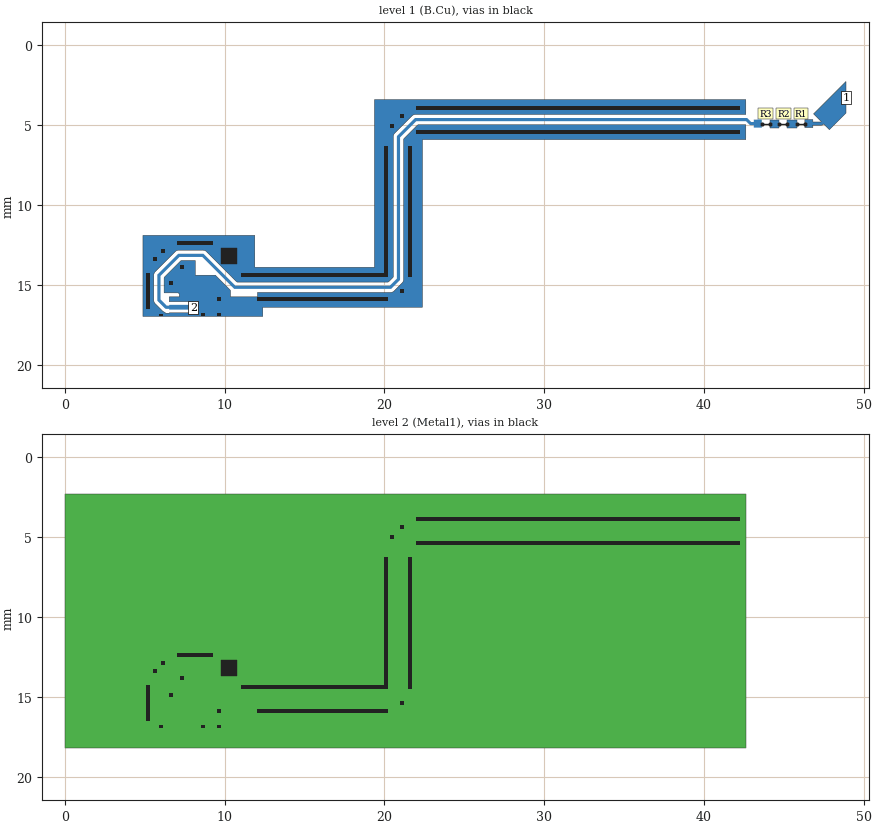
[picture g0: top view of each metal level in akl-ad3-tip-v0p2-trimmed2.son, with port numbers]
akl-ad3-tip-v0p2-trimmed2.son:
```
FTYP SONPROJ 19 ! Sonnet Project File
VER 18.01
HEADER
LIC antikernel2.1.51012 90e2ba8817c1 havequick azonenberg Level3Gold
DAT 09/25/2021 06:21:30
BUILT_BY_CREATED dxf 18.01 09/25/2021 05:46:11
BUILT_BY_SAVED sonnet 18.01
MDATE 09/25/2021 06:21:30
HDATE 09/25/2021 06:21:30
ANN Created by dxfgeo, Sonnet Software Inc.
END HEADER
DIM
ANG DEG
CAP PF
CON /OH
FREQ GHZ
IND NH
LNG MM
RES OH
END DIM
CONTROL
VARSWP
OPTIONS  -dj
SPEED 1
CACHE_ABS 2
Q_ACC N
END CONTROL
GEO
TMET "Free Space" 0 FREESPACE 376.7303136 0 0 0
BMET "Free Space" 0 FREESPACE 376.7303136 0 0 0
MET "Copper 1oz thick" 1 TMM 58000000 0.5 0.035 2
MET "Unknown_metal" 1 VOL INF 0
BOX 3 48.9 20 3912 1600 20 0
      5 1 1 0 0 0 0 "Air"
      0.035 4.3 1 0.02 0 0 0 "Soldermask"
      0.1016 3.2 1 0.002 0 0 0 "Panasonic R-F775"
      1 1 1 0 0 0 0 "Air"
TECHLAY METAL B.Cu L1D0 -1 -65534 
1 0 0 T 296 1 1 100 100 0 0 0 Y
END
END
TECHLAY VIA Via1 L2D0 -2 -65534 
VIA POLYGON
1 0 -1 N 989 1 1 100 100 0 0 0 Y
TOLEVEL 2 RING NOCOVERS
END
END
TECHLAY METAL Metal1 <UNSPECIFIED> -3 0 
2 0 -1 N 1784 1 1 100 100 0 0 0 Y
END
END
LORGN 0 20 U 
POR1 CUP Auto
GNDREF AUTO
TERMW FEED
POLY 7 1
122
2 50 0 0 0 8.025 16.4 
CUPGRP "Auto" LOCAL
ID 987
END
POR1 BOX
POLY 355 1
0
1 50 0 0 0 48.9 3.259 
SMD 1 "R1"
ID 312
GNDREF AUTO
SBOX 45.95 46.2 4.775 5.025
PBSHW N
LPOS 46.075 4.775
TYPE SPARAM 1
SMDP 1 46.325 4.9 R 3 1 
EXSMDP
GNDREF AUTO
TERMW FEED
END EXSMDP
SMDP 1 45.825 4.9 L 4 2 
EXSMDP
GNDREF AUTO
TERMW FEED
END EXSMDP
END
SMD 1 "R2"
ID 317
GNDREF AUTO
SBOX 44.85 45.1 4.775 5.025
PBSHW N
LPOS 44.975 4.775
TYPE SPARAM 1
SMDP 1 45.225 4.9 R 5 1 
EXSMDP
GNDREF AUTO
TERMW FEED
END EXSMDP
SMDP 1 44.725 4.9 L 6 2 
EXSMDP
GNDREF AUTO
TERMW FEED
END EXSMDP
END
SMD 1 "R3"
ID 322
GNDREF AUTO
SBOX 43.75 44 4.775 5.025
PBSHW N
LPOS 43.875 4.775
TYPE SPARAM 2
SMDP 1 44.125 4.9 R 7 1 
EXSMDP
GNDREF AUTO
TERMW FEED
END EXSMDP
SMDP 1 43.625 4.9 L 8 2 
EXSMDP
GNDREF AUTO
TERMW FEED
END EXSMDP
END
NUM 26
1 5 0 T 5 1 1 100 100 0 0 0 Y
TLAYNAM B.Cu INH
44.125 5.15
44.125 4.65
44.725 4.65
44.725 5.15
44.125 5.15
END
1 5 0 T 6 1 1 100 100 0 0 0 Y
TLAYNAM B.Cu INH
45.225 5.15
45.225 4.65
45.825 4.65
45.825 5.15
45.225 5.15
END
1 125 0 T 7 1 1 100 100 0 0 0 Y
TLAYNAM B.Cu INH
6.525 16.55
6.525 16.5
6.32 16.5
6.31 16.499
6.301 16.497
6.291 16.494
6.282 16.491
6.274 16.486
6.265 16.48
6.258 16.474
5.801 16.017
5.795 16.01
5.789 16.001
5.784 15.993
5.781 15.984
5.778 15.974
5.776 15.965
5.775 15.955
5.775 14.395
5.776 14.385
5.778 14.376
5.781 14.366
5.784 14.357
5.789 14.349
5.795 14.34
5.801 14.333
7.058 13.076
7.065 13.07
7.074 13.064
7.082 13.059
7.091 13.056
7.101 13.053
7.11 13.051
7.12 13.05
8.63 13.05
8.64 13.051
8.649 13.053
8.659 13.056
8.668 13.059
8.676 13.064
8.685 13.07
8.692 13.076
8.699 13.083
8.705 13.09
10.666 15.05
20.334 15.05
20.775 14.609
20.775 5.72
20.776 5.71
20.778 5.701
20.781 5.691
20.784 5.682
20.789 5.674
20.795 5.665
20.801 5.658
21.883 4.576
21.89 4.57
21.899 4.564
21.907 4.559
21.916 4.556
21.926 4.553
21.935 4.551
21.945 4.55
42.68 4.55
42.69 4.551
42.699 4.553
42.709 4.556
42.718 4.559
42.726 4.564
42.735 4.57
42.742 4.576
42.749 4.583
42.755 4.59
42.966 4.8
43.125 4.8
43.125 4.65
43.625 4.65
43.625 5.15
43.125 5.15
43.125 5
42.92 5
42.91 4.999
42.901 4.997
42.891 4.994
42.882 4.991
42.874 4.986
42.865 4.98
42.858 4.974
42.634 4.75
21.991 4.75
20.975 5.766
20.975 14.655
20.974 14.665
20.972 14.674
20.969 14.684
20.966 14.693
20.961 14.701
20.955 14.71
20.949 14.717
20.442 15.224
20.435 15.23
20.426 15.236
20.418 15.241
20.409 15.244
20.399 15.247
20.39 15.249
20.38 15.25
10.62 15.25
10.61 15.249
10.601 15.247
10.591 15.244
10.582 15.241
10.574 15.236
10.565 15.23
10.558 15.224
8.584 13.25
7.166 13.25
5.975 14.441
5.975 15.909
6.366 16.3
6.525 16.3
6.525 16.25
8.025 16.25
8.025 16.55
6.525 16.55
END
1 5 0 T 280 1 1 100 100 0 0 0 Y
TLAYNAM B.Cu INH
11.729 16.968
11.725 16.961
11.725 16.975
11.735125 16.975
11.729 16.968
END
1 23 0 T 355 1 1 100 100 0 0 0 Y
TLAYNAM B.Cu INH
48.9 4.24
48.9 2.278
48.891 2.269
46.869 4.291
47.356 4.778
47.334 4.8
46.825 4.8
46.825 4.65
46.325 4.65
46.325 5.15
46.825 5.15
46.825 5
47.38 5
47.39 4.999
47.399 4.997
47.409 4.994
47.418 4.991
47.426 4.986
47.435 4.98
47.442 4.974
47.497 4.919
47.859 5.281
48.9 4.24
END
1 341 0 T 973 1 1 100 100 0 0 0 Y
TLAYNAM B.Cu INH
12.376 16.662
12.374 16.652
12.374 16.647
12.376 16.638
12.376 16.401
12.613 16.401
12.623 16.399
12.628 16.399
12.637 16.401
21.231 16.401
21.2365 16.4
22.375 16.4
22.375 15.275
22.3724 15.275
22.374 15.267
22.376 15.256
22.376 6.912
22.374 6.902
22.374 6.899
22.375 6.889
22.375 6.888
22.376 6.876
22.376 5.9
23.368 5.9
23.373 5.899
23.38 5.899
23.384 5.9
23.5 5.9
23.5 5.901
42.519 5.901
42.5245 5.9
42.625 5.9
42.625 5.7995
42.626 5.794
42.626 5.1
42.625 5.0945
42.625 4.975
42.5 4.975
42.5 4.975
22.124 4.975
22.115 4.976
22.104 4.978
22.094 4.981
22.084 4.985
22.079 4.988
22.073 4.991
22.067 4.996
22.065 4.997
22.056 5.004
21.23 5.83
21.216 5.848
21.211 5.858
21.207 5.868
21.204 5.879
21.202 5.889
21.202 5.891
21.2 5.901
21.2 14.637
21.202 14.646
21.202 14.651
21.201 14.655
21.2 14.665
21.194 14.716
21.177 14.776
21.147 14.832
21.106 14.881
21.103 14.884
21.1 14.886
21.094 14.891
20.616 15.369
20.607 15.381
20.606 15.382
20.558 15.421
20.497 15.453
20.436 15.471
20.398 15.475
20.388 15.475
20.379 15.477
20.372 15.477
20.36 15.475
12.05 15.475
12.05 15.75
10.354 15.75
10.354 15.402
10.355 15.391
10.355 15.38
10.354 15.369
10.352 15.358
10.349 15.348
10.344 15.337
10.339 15.328
10.333 15.318
10.326 15.31
10.318 15.303
9.409 14.394
8.15 14.394
8.15 13.55
8.15 13.475
7.299 13.475
7.29 13.476
7.279 13.478
7.269 13.481
7.259 13.485
7.254 13.488
7.248 13.491
7.242 13.496
7.24 13.497
7.231 13.504
6.241 14.494
6.237 14.497
6.23 14.505
6.216 14.523
6.211 14.533
6.207 14.543
6.204 14.553
6.204 14.554
6.202 14.564
6.2 14.575
6.2 15.461
6.201 15.472
6.204 15.483
6.207 15.493
6.2098 15.5
6.50875 15.5
6.519 15.499
6.521 15.499
6.803 15.5
6.825 15.5
6.825 15.50007801
7.085 15.501
7.15 15.566
7.15 15.75
6.525 15.75
6.525 16.05
8.025 16.05
8.025 16.025
8.036 16.026
8.252 16.026
8.276 16.05
8.271 16.102
8.258 16.144
8.258 16.145
8.257 16.147
8.249 16.167
8.247 16.178
8.246 16.189
8.246 16.202
8.251 16.244
8.251 16.555
8.247 16.599
8.246 16.611
8.25 16.633
8.253 16.643
8.253 16.644
8.255 16.648
8.256 16.653
8.257 16.653
8.257 16.654
8.272 16.703
8.276 16.75
8.251 16.775
8.036 16.775
8.031 16.776
8.025 16.776
8.025 16.75
6.525 16.75
6.525 16.776
6.519 16.776
6.514 16.775
6.299 16.775
6.269 16.745
6.262 16.737
6.254 16.729
6.246 16.722
6.236 16.716
6.227 16.711
6.216 16.706
6.198 16.701
6.155 16.678
6.154 16.677
6.137 16.666
6.094 16.631
6.091 16.628
6.089 16.625
6.084 16.619
5.656 16.191
5.644 16.182
5.643 16.181
5.604 16.133
5.572 16.072
5.556 16.017
5.551 15.977
5.551 15.965
5.549 15.954
5.549 15.953
5.551 15.935
5.55 15.923
5.551 14.415
5.549 14.404
5.548 14.398
5.551 14.366
5.553 14.355
5.555 14.333
5.556 14.331
5.557 14.328
5.559 14.323
5.562 14.311
5.574 14.274
5.604 14.218
5.631 14.184
5.634 14.181
5.64 14.173
5.644 14.169
5.644 14.168
5.645 14.167
5.647 14.166
5.65 14.164
5.656 14.159
6.884 12.931
6.893 12.919
6.894 12.918
6.942 12.879
7.003 12.847
7.058 12.831
7.098 12.826
7.11 12.826
7.121 12.824
7.122 12.824
7.14 12.826
8.61 12.826
8.621 12.824
8.622 12.824
8.64 12.826
8.652 12.826
8.691 12.831
8.751 12.848
8.807 12.878
8.856 12.918
8.856 12.919
8.859 12.923
8.866 12.932
8.9795 13.0455
8.9795 13.0455
9.185 13.251
9.185 13.251
9.185 13.251
10.2 14.266
10.2 14.266
10.2 14.266
10.417 14.483
10.417 14.483
10.73 14.796
10.748 14.81
10.758 14.815
10.768 14.819
10.779 14.822
10.789 14.824
10.8 14.826
20.2 14.826
20.222 14.822
20.232 14.819
20.242 14.815
20.252 14.81
20.27 14.796
20.521 14.545
20.535 14.527
20.54 14.517
20.544 14.507
20.547 14.496
20.549 14.486
20.551 14.475
20.55 14.463
20.551 5.74
20.549 5.729
20.549 5.727
20.556 5.658
20.573 5.599
20.604 5.543
20.631 5.509
20.634 5.506
20.64 5.498
20.644 5.494
20.644 5.493
20.645 5.492
20.647 5.491
20.65 5.489
20.656 5.484
21.709 4.431
21.714 4.424
21.715 4.423
21.748 4.396
21.755 4.389
21.767 4.379
21.828 4.347
21.883 4.331
21.923 4.326
21.935 4.326
21.946 4.324
21.947 4.324
21.965 4.326
42.519 4.326
42.5245 4.325
42.625 4.325
42.625 4.2245
42.626 4.219
42.626 3.507
42.625 3.5015
42.625 3.4
42.137 3.4
42.122 3.402
42.121 3.402
42.113 3.4
19.375 3.4
19.375 5.294
19.375 13.638
19.377 13.653
19.377 13.654
19.375 13.662
19.375 13.899
19.373 13.9
19.137 13.9
19.122 13.902
19.121 13.902
19.113 13.9
12.137 13.9
12.122 13.902
12.121 13.902
12.113 13.9
11.876 13.9
11.876 13.662
11.874 13.652
11.874 13.647
11.876 13.638
11.876 13.044
11.875 13.0385
11.875 11.9
4.875 11.9
4.875 13.044
4.875 16.975
12.376 16.975
12.376 16.662
END
VIA POLYGON
1 5 -1 N 41 1 1 100 100 0 0 0 Y
TOLEVEL 2 RING NOCOVERS
TLAYNAM Via1 INH
22 5.525
22 5.275
42.25 5.275
42.25 5.525
22 5.525
END
VIA POLYGON
1 5 -1 N 58 1 1 100 100 0 0 0 Y
TOLEVEL 2 RING NOCOVERS
TLAYNAM Via1 INH
22 4.025
22 3.775
42.25 3.775
42.25 4.025
22 4.025
END
VIA POLYGON
1 5 -1 N 74 1 1 100 100 0 0 0 Y
TOLEVEL 2 RING NOCOVERS
TLAYNAM Via1 INH
21.5 14.525
21.5 6.275
21.75 6.275
21.75 14.525
21.5 14.525
END
VIA POLYGON
1 5 -1 N 80 1 1 100 100 0 0 0 Y
TOLEVEL 2 RING NOCOVERS
TLAYNAM Via1 INH
9.5 16.025
9.5 15.775
9.75 15.775
9.75 16.025
9.5 16.025
END
VIA POLYGON
1 5 -1 N 81 1 1 100 100 0 0 0 Y
TOLEVEL 2 RING NOCOVERS
TLAYNAM Via1 INH
12 16.025
12 15.775
20.25 15.775
20.25 16.025
12 16.025
END
VIA POLYGON
1 5 -1 N 91 1 1 100 100 0 0 0 Y
TOLEVEL 2 RING NOCOVERS
TLAYNAM Via1 INH
21 15.525
21 15.275
21.25 15.275
21.25 15.525
21 15.525
END
VIA POLYGON
1 5 -1 N 92 1 1 100 100 0 0 0 Y
TOLEVEL 2 RING NOCOVERS
TLAYNAM Via1 INH
6.5 15.025
6.5 14.775
6.75 14.775
6.75 15.025
6.5 15.025
END
VIA POLYGON
1 5 -1 N 93 1 1 100 100 0 0 0 Y
TOLEVEL 2 RING NOCOVERS
TLAYNAM Via1 INH
5.05 16.525
5.05 14.275
5.3 14.275
5.3 16.525
5.05 16.525
END
VIA POLYGON
1 5 -1 N 96 1 1 100 100 0 0 0 Y
TOLEVEL 2 RING NOCOVERS
TLAYNAM Via1 INH
20.375 5.15
20.375 4.9
20.625 4.9
20.625 5.15
20.375 5.15
END
VIA POLYGON
1 5 -1 N 97 1 1 100 100 0 0 0 Y
TOLEVEL 2 RING NOCOVERS
TLAYNAM Via1 INH
21 4.525
21 4.275
21.25 4.275
21.25 4.525
21 4.525
END
VIA POLYGON
1 5 -1 N 112 1 1 100 100 0 0 0 Y
TOLEVEL 2 RING NOCOVERS
TLAYNAM Via1 INH
7.19 13.975
7.19 13.725
7.44 13.725
7.44 13.975
7.19 13.975
END
VIA POLYGON
1 5 -1 N 113 1 1 100 100 0 0 0 Y
TOLEVEL 2 RING NOCOVERS
TLAYNAM Via1 INH
5.5 13.525
5.5 13.275
5.75 13.275
5.75 13.525
5.5 13.525
END
VIA POLYGON
1 5 -1 N 116 1 1 100 100 0 0 0 Y
TOLEVEL 2 RING NOCOVERS
TLAYNAM Via1 INH
6 13.025
6 12.775
6.25 12.775
6.25 13.025
6 13.025
END
VIA POLYGON
1 5 -1 N 117 1 1 100 100 0 0 0 Y
TOLEVEL 2 RING NOCOVERS
TLAYNAM Via1 INH
9.775 13.675
9.775 12.675
10.775 12.675
10.775 13.675
9.775 13.675
END
VIA POLYGON
1 5 -1 N 118 1 1 100 100 0 0 0 Y
TOLEVEL 2 RING NOCOVERS
TLAYNAM Via1 INH
7 12.525
7 12.275
9.25 12.275
9.25 12.525
7 12.525
END
VIA POLYGON
1 5 -1 N 282 1 1 100 100 0 0 0 Y
TOLEVEL 2 RING NOCOVERS
TLAYNAM Via1 INH
9.75 16.775
9.5 16.775
9.5 16.975
9.75 16.975
9.75 16.775
END
VIA POLYGON
1 5 -1 N 283 1 1 100 100 0 0 0 Y
TOLEVEL 2 RING NOCOVERS
TLAYNAM Via1 INH
6.101 16.794
5.851 16.794
5.851 16.975
6.101 16.975
6.101 16.794
END
VIA POLYGON
1 5 -1 N 284 1 1 100 100 0 0 0 Y
TOLEVEL 2 RING NOCOVERS
TLAYNAM Via1 INH
8.75 16.775
8.5 16.775
8.5 16.975
8.75 16.975
8.75 16.775
END
VIA POLYGON
1 8 -1 N 309 1 1 100 100 0 0 0 Y
TOLEVEL 2 RING NOCOVERS
TLAYNAM Via1 INH
20.25 14.275
20.25 6.275
20 6.275
20 14.275
11 14.275
11 14.525
20.25 14.525
20.25 14.275
END
2 5 -1 N 327 1 1 100 100 0 0 0 Y
TLAYNAM Metal1 INH
0 2.3
42.626 2.3
42.626 18.2
0 18.2
0 2.3
END
END GEO
SUBDIV
MAIN $BASENAME_net.son
REFPLANE F 2
NAME 1 $BASENAME_net_s1.son
NAME 2 $BASENAME_net_s2.son
NAME 3 $BASENAME_net_s3.son
NAME 4 $BASENAME_net_s4.son
LINE 1 8.95 V 
LINE 2 19.15 V 
LINE 3 22.6 V 
END SUBDIV
OPT
MAX 100
END OPT
VARSWP
ENABLED Y
FREQ Y AY ABS_ENTRY 0.1 20.0 -1 300 
END
END VARSWP
SMDFILES
2 "../../../../../../../bulk/datasheets/Vishay/Resistors/FC/0402/FC0402-FlipChip-50 Ohm.s2p"
1 "../../../../../../../bulk/datasheets/Vishay/Resistors/FC/0402/FC0402-FlipChip-200 Ohm.s2p"
END SMDFILES
```
